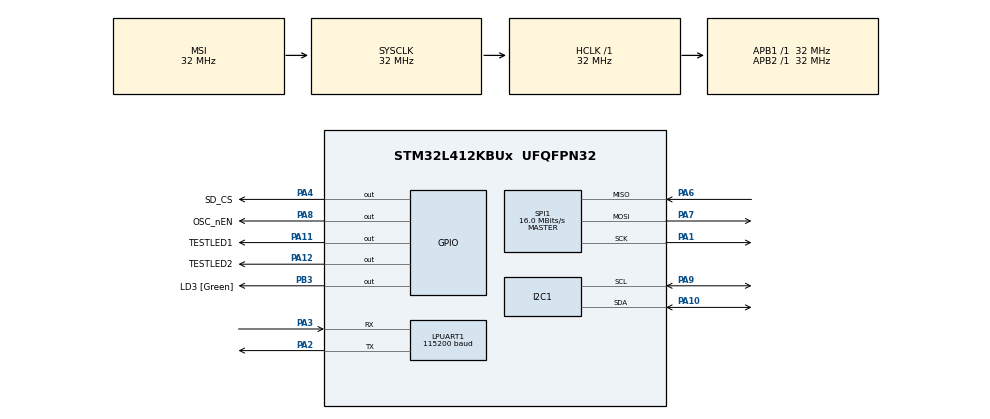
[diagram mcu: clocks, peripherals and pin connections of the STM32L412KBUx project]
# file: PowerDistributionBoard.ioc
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I2C1.Timing=0x00B07CB4
LPUART1.BaudRate=115200
LPUART1.WordLength=UART_WORDLENGTH_8B
Mcu.Family=STM32L4
Mcu.Name=STM32L412KBUx
Mcu.Package=UFQFPN32
NVIC.PriorityGroup=NVIC_PRIORITYGROUP_4
PA0-CK_IN.Signal=OPAMP1_VINP
PA1.Mode=Full_Duplex_Master
PA1.Signal=SPI1_SCK
PA10.Mode=I2C
PA10.Signal=I2C1_SDA
PA11.GPIO_Label=TESTLED1
PA11.Signal=GPIO_Output
PA12.GPIO_Label=TESTLED2
PA12.Signal=GPIO_Output
PA13\ (JTMS/SWDIO).GPIO_Label=SWDIO
PA13\ (JTMS/SWDIO).Mode=Serial_Wire
PA13\ (JTMS/SWDIO).Signal=SYS_JTMS-SWDIO
PA14\ (JTCK/SWCLK).GPIO_Label=SWCLK
PA14\ (JTCK/SWCLK).Mode=Serial_Wire
PA14\ (JTCK/SWCLK).Signal=SYS_JTCK-SWCLK
PA15\ (JTDI).GPIO_Label=VCP_RX
PA15\ (JTDI).Signal=USART2_RX
PA2.Mode=Asynchronous
PA2.Signal=LPUART1_TX
PA3.Mode=Asynchronous
PA3.Signal=LPUART1_RX
PA4.GPIO_Label=SD_CS
PA4.Signal=GPIO_Output
PA6.Mode=Full_Duplex_Master
PA6.Signal=SPI1_MISO
PA7.Mode=Full_Duplex_Master
PA7.Signal=SPI1_MOSI
PA8.GPIO_Label=OSC_nEN
PA8.Signal=GPIO_Output
PA9.Mode=I2C
PA9.Signal=I2C1_SCL
PB3\ (JTDO/TRACESWO).GPIO_Label=LD3 [Green]
PB3\ (JTDO/TRACESWO).Signal=GPIO_Output
PC14-OSC32_IN\ (PC14).Mode=LSE-External-Oscillator
PC14-OSC32_IN\ (PC14).Signal=RCC_OSC32_IN
PC15-OSC32_OUT\ (PC15).Mode=LSE-External-Oscillator
PC15-OSC32_OUT\ (PC15).Signal=RCC_OSC32_OUT
ProjectManager.HeapSize=0x200
ProjectManager.StackSize=0x400
ProjectManager.TargetToolchain=STM32CubeIDE
RCC.ADCFreq_Value=32000000
RCC.AHBFreq_Value=32000000
RCC.APB1Freq_Value=32000000
RCC.APB1TimFreq_Value=32000000
RCC.APB2Freq_Value=32000000
RCC.APB2TimFreq_Value=32000000
RCC.CortexFreq_Value=32000000
RCC.FLatency=FLASH_LATENCY_1
RCC.HCLKFreq_Value=32000000
RCC.HSE_VALUE=8000000
RCC.HSI48_VALUE=48000000
RCC.HSICalibrationValue=64
RCC.HSI_VALUE=16000000
RCC.LSE_Drive_Capability=RCC_LSEDRIVE_LOW
RCC.MSIClockRange=RCC_MSIRANGE_10
RCC.MSI_VALUE=32000000
RCC.SYSCLKFreq_VALUE=32000000
RCC.USBFreq_Value=32000000
RCC.VCOOutputFreq_Value=256000000
SPI1.CalculateBaudRate=16.0 MBits/s
SPI1.Direction=SPI_DIRECTION_2LINES
SPI1.Mode=SPI_MODE_MASTER
SPI1.VirtualType=VM_MASTER
VP_FATFS_VS_Generic.Mode=User_defined
board=NUCLEO-L412KB

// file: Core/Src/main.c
/* USER CODE BEGIN Header */
/**
  ******************************************************************************
  * @file           : main.c
  * @brief          : Main program body
  ******************************************************************************
  * @attention
  *
  * Copyright (c) 2025 STMicroelectronics.
  * All rights reserved.
  *
  * This software is licensed under terms that can be found in the LICENSE file
  * in the root directory of this software component.
  * If no LICENSE file comes with this software, it is provided AS-IS.
  *
  ******************************************************************************
  */
/* USER CODE END Header */
#include "main.h"
#include "fatfs.h"

/* USER CODE BEGIN Includes */
#include <string.h>
#include <stdarg.h>
#include <stdio.h>
//#include "sdcard.h"
/* USER CODE END Includes */

I2C_HandleTypeDef hi2c1;

UART_HandleTypeDef hlpuart1;

SPI_HandleTypeDef hspi1;

/* USER CODE BEGIN PV */
char TxBuffer[250];
/* USER CODE END PV */

void SystemClock_Config(void);
static void MX_GPIO_Init(void);
static void MX_I2C1_Init(void);
static void MX_SPI1_Init(void);
static void MX_LPUART1_UART_Init(void);

/* USER CODE BEGIN 0 */

static void SD_Card_Test(void)
{
  FATFS FatFs;
  FIL Fil;
  FRESULT FR_Status;
  FATFS *FS_Ptr;
  UINT RWC, WWC; // Read/Write Word Counter
  DWORD FreeClusters;
  uint32_t TotalSize, FreeSpace;
  char RW_Buffer[200];
  do
  {
    //------------------[ Mount The SD Card ]--------------------
    FR_Status = f_mount(&FatFs, "", 1);
    if (FR_Status != FR_OK)
    {
      printf("Error! While Mounting SD Card, Error Code: (%i)\r\n", FR_Status);
      break;
    }
    printf("SD Card Mounted Successfully! \r\n\n");
//    UART_Print(TxBuffer);
    //------------------[ Get & Print The SD Card Size & Free Space ]--------------------
    f_getfree("", &FreeClusters, &FS_Ptr);
    TotalSize = (uint32_t)((FS_Ptr->n_fatent - 2) * FS_Ptr->csize * 0.5);
    FreeSpace = (uint32_t)(FreeClusters * FS_Ptr->csize * 0.5);
    printf("Total SD Card Size: %lu Bytes\r\n", TotalSize);
    printf("Free SD Card Space: %lu Bytes\r\n\n", FreeSpace);
//    UART_Print(TxBuffer);
    //------------------[ Open A Text File For Write & Write Data ]--------------------
    //Open the file
    FR_Status = f_open(&Fil, "TextFileWrite.txt", FA_WRITE | FA_READ | FA_CREATE_ALWAYS);
    if(FR_Status != FR_OK)
    {
      printf("Error! While Creating/Opening A New Text File, Error Code: (%i)\r\n", FR_Status);
//      UART_Print(TxBuffer);
      break;
    }
    printf("Text File Created & Opened! Writing Data To The Text File..\r\n\n");
    // (1) Write Data To The Text File [ Using f_puts() Function ]
    f_puts("Hello! From STM32 To SD Card Over SPI, Using f_puts()\n", &Fil);
    // (2) Write Data To The Text File [ Using f_write() Function ]
    strcpy(RW_Buffer, "Hello! From STM32 To SD Card Over SPI, Using f_write()\r\n");
    f_write(&Fil, RW_Buffer, strlen(RW_Buffer), &WWC);
    // Close The File
    f_close(&Fil);
    //------------------[ Open A Text File For Read & Read Its Data ]--------------------
    // Open The File
    FR_Status = f_open(&Fil, "TextFileWrite.txt", FA_READ);
    if(FR_Status != FR_OK)
    {
      printf("Error! While Opening (TextFileWrite.txt) File For Read.. \r\n");
      break;
    }
    // (1) Read The Text File's Data [ Using f_gets() Function ]
    f_gets(RW_Buffer, sizeof(RW_Buffer), &Fil);
    printf("Data Read From (TextFileWrite.txt) Using f_gets():%s", RW_Buffer);
    // (2) Read The Text File's Data [ Using f_read() Function ]
    f_read(&Fil, RW_Buffer, f_size(&Fil), &RWC);
    printf("Data Read From (TextFileWrite.txt) Using f_read():%s", RW_Buffer);
    // Close The File
    f_close(&Fil);
    printf(TxBuffer, "File Closed! \r\n\n");
    //------------------[ Open An Existing Text File, Update Its Content, Read It Back ]--------------------
    // (1) Open The Existing File For Write (Update)
    FR_Status = f_open(&Fil, "TextFileWrite.txt", FA_OPEN_EXISTING | FA_WRITE);
    FR_Status = f_lseek(&Fil, f_size(&Fil)); // Move The File Pointer To The EOF (End-Of-File)
    if(FR_Status != FR_OK)
    {
      printf("Error! While Opening (TextFileWrite.txt) File For Update.. \r\n");
      break;
    }
    // (2) Write New Line of Text Data To The File
    FR_Status = f_puts("This New Line Was Added During Update!\r\n", &Fil);
    f_close(&Fil);
    memset(RW_Buffer,'\0',sizeof(RW_Buffer)); // Clear The Buffer
    // (3) Read The Contents of The Text File After The Update
    FR_Status = f_open(&Fil, "TextFileWrite.txt", FA_READ); // Open The File For Read
    f_read(&Fil, RW_Buffer, f_size(&Fil), &RWC);
    printf("Data Read From (TextFileWrite.txt) After Update:%s", RW_Buffer);
    f_close(&Fil);
    //------------------[ Delete The Text File ]--------------------
    // Delete The File
    /*
    FR_Status = f_unlink(TextFileWrite.txt);
    if (FR_Status != FR_OK){
        sprintf(TxBuffer, "Error! While Deleting The (TextFileWrite.txt) File.. \r\n");
        UART_Print(TxBuffer);
    }
    */
  } while(0);
  //------------------[ Test Complete! Unmount The SD Card ]--------------------
  FR_Status = f_mount(NULL, "", 0);
  if (FR_Status != FR_OK)
  {
      printf("Error! While Un-mounting SD Card, Error Code: (%i)\r\n", FR_Status);
  } else{
      printf("SD Card Un-mounted Successfully! \r\n");
  }
}
//void UART_Printf(const char* fmt, ...) {
//    char buff[256];
//    va_list args;
//    va_start(args, fmt);
//    vsnprintf(buff, sizeof(buff), fmt, args);
//    HAL_UART_Transmit(&huart2, (uint8_t*)buff, strlen(buff), HAL_MAX_DELAY);
//    va_end(args);
//}
//
//void init() {
//    int code;
//    UART_Printf("Ready!\r\n");
//    //MX_SDIO_SD_Init();
//    code = SDCARD_Init(); //problems with this code
//    UART_Printf("Init code check\r\n");
//
//    FATFS fs;
//    FRESULT res = f_mount(&fs, "", 1);
//    if (res != FR_OK) {
//        UART_Printf("Mount failed: %d - ", res);
//        switch(res) {
//            case FR_NOT_READY:  UART_Printf("Card not ready/init failed\r\n"); break;
//            case FR_DISK_ERR:   UART_Printf("Hard disk error\r\n"); break;
//            case FR_NO_FILESYSTEM: UART_Printf("No valid FAT volume\r\n"); break;
//            default: UART_Printf("Unknown error\r\n");
//        }
//        return;
//    }
//    FIL fil;
//    const char* test_str = "SD card test data";
//    res = f_open(&fil, "test.txt", FA_CREATE_ALWAYS | FA_WRITE);
//    if (res == FR_OK) {
//        UINT bytes_written;
//        f_write(&fil, test_str, strlen(test_str), &bytes_written);
//        f_close(&fil);
//        UART_Printf("Wrote %d bytes to file\r\n", bytes_written);
//    }
//
//    //code = SDCARD_Init();
//
//    if(code < 0) {
//        UART_Printf("SDCARD_Init() failed: code = %d\r\n", code);
//        return;
//    }
//
//    UART_Printf("SDCARD_Init() done!\r\n");
//
//    uint32_t blocksNum;
//    code = SDCARD_GetBlocksNumber(&blocksNum);
//    if(code < 0) {
//        UART_Printf("SDCARD_GetBlocksNumber() failed: code = %d\r\n", code);
//        return;
//    }
//
//    UART_Printf("SDCARD_GetBlocksNumber() done! blocksNum = %u (or %u Mb)\r\n",
//        blocksNum, blocksNum/2000 /* same as * 512 / 1000 / 1000 */);
//
//    uint32_t startBlockAddr = 0x00ABCD;
//    uint32_t blockAddr = startBlockAddr;
//    uint8_t block[512];
//
//    snprintf((char*)block, sizeof(block), "0x%08X", (int)blockAddr);
//
//    code = SDCARD_WriteSingleBlock(blockAddr, block);
//    if(code < 0) {
//        UART_Printf("SDCARD_WriteSingleBlock() failed: code = %d\r\n", code);
//        return;
//    }
//    UART_Printf("SDCARD_WriteSingleBlock(0x%08X, ...) done!\r\n", blockAddr);
//
//    memset(block, 0, sizeof(block));
//
//    code = SDCARD_ReadSingleBlock(blockAddr, block);
//    if(code < 0) {
//        UART_Printf("SDCARD_ReadSingleBlock() failed: code = %d\r\n", code);
//        return;
//    }
//
//    UART_Printf("SDCARD_ReadSingleBlock(0x%08X, ...) done! block = \"%c%c%c%c%c%c%c%c%c%c...\"\r\n",
//        blockAddr, block[0], block[1], block[2], block[3], block[4], block[5], block[6], block[7], block[8], block[9]);
//
//    blockAddr = startBlockAddr + 1;
//    code = SDCARD_WriteBegin(blockAddr);
//    if(code < 0) {
//        UART_Printf("SDCARD_WriteBegin() failed: code = %d\r\n", code);
//        return;
//    }
//    UART_Printf("SDCARD_WriteBegin(0x%08X, ...) done!\r\n", blockAddr);
//
//    for(int i = 0; i < 3; i++) {
//        snprintf((char*)block, sizeof(block), "0x%08X", (int)blockAddr);
//
//        code = SDCARD_WriteData(block);
//        if(code < 0) {
//            UART_Printf("SDCARD_WriteData() failed: code = %d\r\n", code);
//            return;
//        }
//
//        UART_Printf("SDCARD_WriteData() done! blockAddr = %08X\r\n", blockAddr);
//        blockAddr++;
//    }
//
//    code = SDCARD_WriteEnd();
//    if(code < 0) {
//        UART_Printf("SDCARD_WriteEnd() failed: code = %d\r\n", code);
//        return;
//    }
//    UART_Printf("SDCARD_WriteEnd() done!\r\n");
//
//    blockAddr = startBlockAddr + 1;
//    code = SDCARD_ReadBegin(blockAddr);
//    if(code < 0) {
//        UART_Printf("SDCARD_ReadBegin() failed: code = %d\r\n", code);
//        return;
//    }
//    UART_Printf("SDCARD_ReadBegin(0x%08X, ...) done!\r\n", blockAddr);
//
//    for(int i = 0; i < 3; i++) {
//        code = SDCARD_ReadData(block);
//        if(code < 0) {
//            UART_Printf("SDCARD_ReadData() failed: code = %d\r\n", code);
//            return;
//        }
//
//        UART_Printf("SDCARD_ReadData() done! block = \"%c%c%c%c%c%c%c%c%c%c...\"\r\n",
//            block[0], block[1], block[2], block[3], block[4], block[5], block[6], block[7], block[8], block[9]);
//    }
//
//    code = SDCARD_ReadEnd();
//    if(code < 0) {
//        UART_Printf("SDCARD_ReadEnd() failed: code = %d\r\n", code);
//        return;
//    }
//    UART_Printf("SDCARD_ReadEnd() done!\r\n");
//}
//
//void loop() {
//    HAL_Delay(500);
//}
/* USER CODE END 0 */

int main(void)
{

  /* MCU Configuration--------------------------------------------------------*/

  /* Reset of all peripherals, Initializes the Flash interface and the Systick. */
  HAL_Init();

  /* Configure the system clock */
  SystemClock_Config();

  /* Initialize all configured peripherals */
  MX_GPIO_Init();
  MX_I2C1_Init();
  MX_SPI1_Init();
  MX_FATFS_Init();
  MX_LPUART1_UART_Init();
  /* USER CODE BEGIN 2 */
//  init();
//  HAL_Delay(100);
  SD_Card_Test();

  /* USER CODE END 2 */

  /* Infinite loop */
  while (1)
  {

  }
}

void SystemClock_Config(void)
{
  RCC_OscInitTypeDef RCC_OscInitStruct = {0};
  RCC_ClkInitTypeDef RCC_ClkInitStruct = {0};

  /** Configure the main internal regulator output voltage
  */
  if (HAL_PWREx_ControlVoltageScaling(PWR_REGULATOR_VOLTAGE_SCALE1) != HAL_OK)
  {
    Error_Handler();
  }

  /** Configure LSE Drive Capability
  */
  HAL_PWR_EnableBkUpAccess();
  __HAL_RCC_LSEDRIVE_CONFIG(RCC_LSEDRIVE_LOW);

  /** Initializes the RCC Oscillators according to the specified parameters
  * in the RCC_OscInitTypeDef structure.
  */
  RCC_OscInitStruct.OscillatorType = RCC_OSCILLATORTYPE_LSE|RCC_OSCILLATORTYPE_MSI;
  RCC_OscInitStruct.LSEState = RCC_LSE_ON;
  RCC_OscInitStruct.MSIState = RCC_MSI_ON;
  RCC_OscInitStruct.MSICalibrationValue = 0;
  RCC_OscInitStruct.MSIClockRange = RCC_MSIRANGE_10;
  RCC_OscInitStruct.PLL.PLLState = RCC_PLL_NONE;
  if (HAL_RCC_OscConfig(&RCC_OscInitStruct) != HAL_OK)
  {
    Error_Handler();
  }

  /** Initializes the CPU, AHB and APB buses clocks
  */
  RCC_ClkInitStruct.ClockType = RCC_CLOCKTYPE_HCLK|RCC_CLOCKTYPE_SYSCLK
                              |RCC_CLOCKTYPE_PCLK1|RCC_CLOCKTYPE_PCLK2;
  RCC_ClkInitStruct.SYSCLKSource = RCC_SYSCLKSOURCE_MSI;
  RCC_ClkInitStruct.AHBCLKDivider = RCC_SYSCLK_DIV1;
  RCC_ClkInitStruct.APB1CLKDivider = RCC_HCLK_DIV1;
  RCC_ClkInitStruct.APB2CLKDivider = RCC_HCLK_DIV1;

  if (HAL_RCC_ClockConfig(&RCC_ClkInitStruct, FLASH_LATENCY_1) != HAL_OK)
  {
    Error_Handler();
  }

  /** Enable MSI Auto calibration
  */
  HAL_RCCEx_EnableMSIPLLMode();
}

static void MX_I2C1_Init(void)
{

  hi2c1.Instance = I2C1;
  hi2c1.Init.Timing = 0x00B07CB4;
  hi2c1.Init.OwnAddress1 = 0;
  hi2c1.Init.AddressingMode = I2C_ADDRESSINGMODE_7BIT;
  hi2c1.Init.DualAddressMode = I2C_DUALADDRESS_DISABLE;
  hi2c1.Init.OwnAddress2 = 0;
  hi2c1.Init.OwnAddress2Masks = I2C_OA2_NOMASK;
  hi2c1.Init.GeneralCallMode = I2C_GENERALCALL_DISABLE;
  hi2c1.Init.NoStretchMode = I2C_NOSTRETCH_DISABLE;
  if (HAL_I2C_Init(&hi2c1) != HAL_OK)
  {
    Error_Handler();
  }

  /** Configure Analogue filter
  */
  if (HAL_I2CEx_ConfigAnalogFilter(&hi2c1, I2C_ANALOGFILTER_ENABLE) != HAL_OK)
  {
    Error_Handler();
  }

  /** Configure Digital filter
  */
  if (HAL_I2CEx_ConfigDigitalFilter(&hi2c1, 0) != HAL_OK)
  {
    Error_Handler();
  }

}

static void MX_LPUART1_UART_Init(void)
{

  hlpuart1.Instance = LPUART1;
  hlpuart1.Init.BaudRate = 115200;
  hlpuart1.Init.WordLength = UART_WORDLENGTH_8B;
  hlpuart1.Init.StopBits = UART_STOPBITS_1;
  hlpuart1.Init.Parity = UART_PARITY_NONE;
  hlpuart1.Init.Mode = UART_MODE_TX_RX;
  hlpuart1.Init.HwFlowCtl = UART_HWCONTROL_NONE;
  hlpuart1.Init.OneBitSampling = UART_ONE_BIT_SAMPLE_DISABLE;
  hlpuart1.AdvancedInit.AdvFeatureInit = UART_ADVFEATURE_NO_INIT;
  if (HAL_UART_Init(&hlpuart1) != HAL_OK)
  {
    Error_Handler();
  }

}

static void MX_SPI1_Init(void)
{

  /* SPI1 parameter configuration*/
  hspi1.Instance = SPI1;
  hspi1.Init.Mode = SPI_MODE_MASTER;
  hspi1.Init.Direction = SPI_DIRECTION_2LINES;
  hspi1.Init.DataSize = SPI_DATASIZE_4BIT;
  hspi1.Init.CLKPolarity = SPI_POLARITY_LOW;
  hspi1.Init.CLKPhase = SPI_PHASE_1EDGE;
  hspi1.Init.NSS = SPI_NSS_SOFT;
  hspi1.Init.BaudRatePrescaler = SPI_BAUDRATEPRESCALER_2;
  hspi1.Init.FirstBit = SPI_FIRSTBIT_MSB;
  hspi1.Init.TIMode = SPI_TIMODE_DISABLE;
  hspi1.Init.CRCCalculation = SPI_CRCCALCULATION_DISABLE;
  hspi1.Init.CRCPolynomial = 7;
  hspi1.Init.CRCLength = SPI_CRC_LENGTH_DATASIZE;
  hspi1.Init.NSSPMode = SPI_NSS_PULSE_ENABLE;
  if (HAL_SPI_Init(&hspi1) != HAL_OK)
  {
    Error_Handler();
  }

}

static void MX_GPIO_Init(void)
{
  GPIO_InitTypeDef GPIO_InitStruct = {0};

  /* GPIO Ports Clock Enable */
  __HAL_RCC_GPIOC_CLK_ENABLE();
  __HAL_RCC_GPIOA_CLK_ENABLE();
  __HAL_RCC_GPIOB_CLK_ENABLE();

  /*Configure GPIO pin Output Level */
  HAL_GPIO_WritePin(GPIOA, SD_CS_Pin|OSC_nEN_Pin|TESTLED1_Pin|TESTLED2_Pin, GPIO_PIN_RESET);

  /*Configure GPIO pin Output Level */
  HAL_GPIO_WritePin(LD3_GPIO_Port, LD3_Pin, GPIO_PIN_RESET);

  /*Configure GPIO pin : PA0 */
  GPIO_InitStruct.Pin = GPIO_PIN_0;
  GPIO_InitStruct.Mode = GPIO_MODE_ANALOG;
  GPIO_InitStruct.Pull = GPIO_NOPULL;
  HAL_GPIO_Init(GPIOA, &GPIO_InitStruct);

  /*Configure GPIO pins : SD_CS_Pin OSC_nEN_Pin TESTLED1_Pin TESTLED2_Pin */
  GPIO_InitStruct.Pin = SD_CS_Pin|OSC_nEN_Pin|TESTLED1_Pin|TESTLED2_Pin;
  GPIO_InitStruct.Mode = GPIO_MODE_OUTPUT_PP;
  GPIO_InitStruct.Pull = GPIO_NOPULL;
  GPIO_InitStruct.Speed = GPIO_SPEED_FREQ_LOW;
  HAL_GPIO_Init(GPIOA, &GPIO_InitStruct);

  /*Configure GPIO pin : VCP_RX_Pin */
  GPIO_InitStruct.Pin = VCP_RX_Pin;
  GPIO_InitStruct.Mode = GPIO_MODE_AF_PP;
  GPIO_InitStruct.Pull = GPIO_NOPULL;
  GPIO_InitStruct.Speed = GPIO_SPEED_FREQ_VERY_HIGH;
  GPIO_InitStruct.Alternate = GPIO_AF3_USART2;
  HAL_GPIO_Init(VCP_RX_GPIO_Port, &GPIO_InitStruct);

  /*Configure GPIO pin : LD3_Pin */
  GPIO_InitStruct.Pin = LD3_Pin;
  GPIO_InitStruct.Mode = GPIO_MODE_OUTPUT_PP;
  GPIO_InitStruct.Pull = GPIO_NOPULL;
  GPIO_InitStruct.Speed = GPIO_SPEED_FREQ_LOW;
  HAL_GPIO_Init(LD3_GPIO_Port, &GPIO_InitStruct);

}

/* USER CODE BEGIN 4 */
#ifdef __GNUC__
#define PUTCHAR_PROTOTYPE int __io_putchar(int ch)
#else
  #define PUTCHAR_PROTOTYPE int fputc(int ch, FILE *f)
#endif /* __GNUC__ */
PUTCHAR_PROTOTYPE
{
  HAL_UART_Transmit(&hlpuart1, (uint8_t *)&ch, 1, 0xFFFF);
  return ch;
}
/* USER CODE END 4 */

void Error_Handler(void)
{
  __disable_irq();
  while (1)
  {
  }
}
